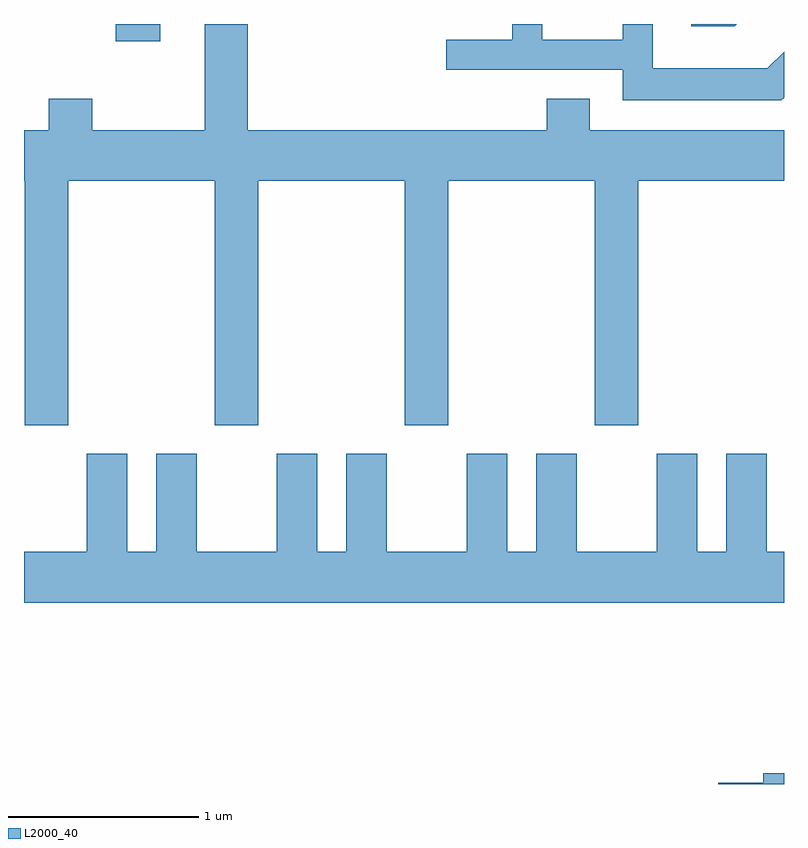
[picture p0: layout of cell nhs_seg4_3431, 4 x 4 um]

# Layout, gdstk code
import gdstk
lib = gdstk.Library(unit=1e-6, precision=1e-09)
def R(c, l, rs):  # rectangles x0, y0, x1, y1
    for r in rs: c.add(gdstk.rectangle(r[:2], r[2:], *l))
def P(c, l, *ps):  # polygons
    for p in ps: c.add(gdstk.Polygon(p, *l))
L2000_40 = (2000, 40)

nhs_seg4_3431 = lib.new_cell('nhs_seg4_3431')
R(nhs_seg4_3431, L2000_40, [(286.093,1319.891,286.329,1319.982)])
P(nhs_seg4_3431, L2000_40, [(289.363,1319.982),(289.123,1319.982),(289.123,1319.971),(289.352,1319.971)],
  [(289.611,1319.595),(289.611,1319.836),(289.524,1319.749),(288.919,1319.749),(288.919,1319.982),(288.761,1319.982),(288.761,1319.899),(288.339,1319.899),(288.339,1319.982),(288.181,1319.982),(288.181,1319.899),(287.833,1319.899),(287.833,1319.741),(288.761,1319.741),(288.761,1319.581),(289.597,1319.581)],
  [(288.589,1319.589),(288.361,1319.589),(288.361,1319.424),(286.789,1319.424),(286.789,1319.982),(286.561,1319.982),(286.561,1319.424),(285.969,1319.424),(285.969,1319.589),(285.741,1319.589),(285.741,1319.424),(285.611,1319.424),(285.611,1319.156),(285.616,1319.156),(285.616,1317.871),(285.844,1317.871),(285.844,1319.156),(286.616,1319.156),(286.616,1317.871),(286.844,1317.871),(286.844,1319.156),(287.616,1319.156),(287.616,1317.871),(287.844,1317.871),(287.844,1319.156),(288.616,1319.156),(288.616,1317.871),(288.844,1317.871),(288.844,1319.156),(289.611,1319.156),(289.611,1319.424),(288.589,1319.424)],
  [(289.611,1317.204),(289.519,1317.204),(289.519,1317.719),(289.306,1317.719),(289.306,1317.204),(289.154,1317.204),(289.154,1317.719),(288.941,1317.719),(288.941,1317.204),(288.519,1317.204),(288.519,1317.719),(288.306,1317.719),(288.306,1317.204),(288.154,1317.204),(288.154,1317.719),(287.941,1317.719),(287.941,1317.204),(287.519,1317.204),(287.519,1317.719),(287.306,1317.719),(287.306,1317.204),(287.154,1317.204),(287.154,1317.719),(286.941,1317.719),(286.941,1317.204),(286.519,1317.204),(286.519,1317.719),(286.306,1317.719),(286.306,1317.204),(286.154,1317.204),(286.154,1317.719),(285.941,1317.719),(285.941,1317.204),(285.611,1317.204),(285.611,1316.936),(289.611,1316.936)],
  [(289.611,1316.039),(289.501,1316.039),(289.501,1315.989),(289.266,1315.989),(289.266,1315.982),(289.611,1315.982)])

lib.write_gds('nhs_seg4_3431.gds')
